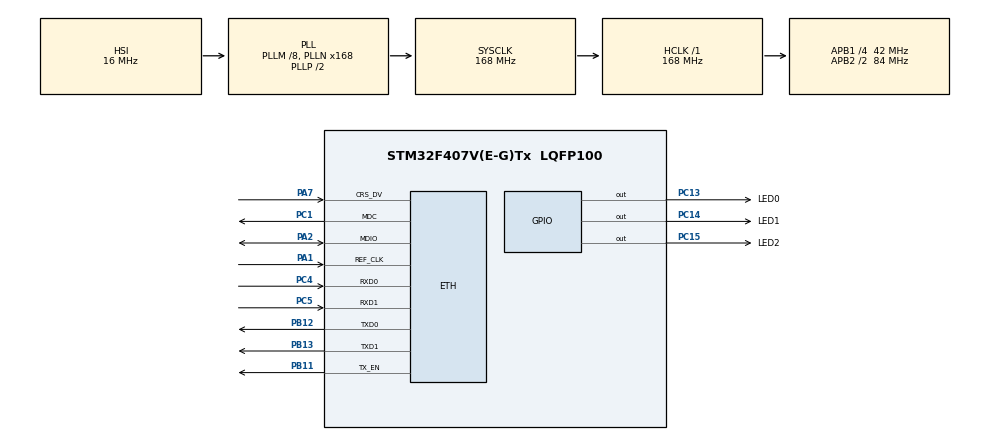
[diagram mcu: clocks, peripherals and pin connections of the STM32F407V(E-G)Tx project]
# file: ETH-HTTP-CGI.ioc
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ETH.AutoNegotiation=ETH_AUTONEGOTIATION_DISABLE
ETH.MediaInterface=ETH_MEDIA_INTERFACE_RMII
ETH.PHY_Name_RMII=DP83848_PHY_ADDRESS
LWIP.GATEWAY_ADDRESS=192.168.100.001
LWIP.IP_ADDRESS=192.168.100.200
LWIP.LWIP_DHCP=0
LWIP.LWIP_HTTPD=1
LWIP.LWIP_HTTPD_CGI=1
LWIP.LWIP_HTTPD_SSI=1
LWIP.MEM_SIZE=10240
LWIP.NETMASK_ADDRESS=255.255.255.000
LWIP.PBUF_POOL_BUFSIZE=1534
LWIP.TCP_MSS=1460
LWIP.Version=v2.1.2_Cube
Mcu.Family=STM32F4
Mcu.Name=STM32F407V(E-G)Tx
Mcu.Package=LQFP100
NVIC.PriorityGroup=NVIC_PRIORITYGROUP_4
PA1.Mode=RMII
PA1.Signal=ETH_REF_CLK
PA2.Mode=RMII
PA2.Signal=ETH_MDIO
PA7.Mode=RMII
PA7.Signal=ETH_CRS_DV
PB11.Mode=RMII
PB11.Signal=ETH_TX_EN
PB12.Mode=RMII
PB12.Signal=ETH_TXD0
PB13.Mode=RMII
PB13.Signal=ETH_TXD1
PC1.Mode=RMII
PC1.Signal=ETH_MDC
PC13-ANTI_TAMP.GPIO_Label=LED0
PC13-ANTI_TAMP.Signal=GPIO_Output
PC14-OSC32_IN.GPIO_Label=LED1
PC14-OSC32_IN.Signal=GPIO_Output
PC15-OSC32_OUT.GPIO_Label=LED2
PC15-OSC32_OUT.Signal=GPIO_Output
PC4.Mode=RMII
PC4.Signal=ETH_RXD0
PC5.Mode=RMII
PC5.Signal=ETH_RXD1
ProjectManager.HeapSize=0x200
ProjectManager.StackSize=0x400
ProjectManager.TargetToolchain=MDK-ARM V5.27
RCC.48MHZClocksFreq_Value=84000000
RCC.AHBFreq_Value=168000000
RCC.APB1CLKDivider=RCC_HCLK_DIV4
RCC.APB1Freq_Value=42000000
RCC.APB1TimFreq_Value=84000000
RCC.APB2CLKDivider=RCC_HCLK_DIV2
RCC.APB2Freq_Value=84000000
RCC.APB2TimFreq_Value=168000000
RCC.CortexFreq_Value=168000000
RCC.HCLKFreq_Value=168000000
RCC.HSE_VALUE=25000000
RCC.HSI_VALUE=16000000
RCC.LSE_VALUE=32768
RCC.PLLM=8
RCC.PLLN=168
RCC.SYSCLKFreq_VALUE=168000000
RCC.SYSCLKSource=RCC_SYSCLKSOURCE_PLLCLK
RCC.VCOOutputFreq_Value=336000000
VP_LWIP_VS_Enabled.Mode=Enabled
board=custom

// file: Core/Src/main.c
/* USER CODE BEGIN Header */
/**
  ******************************************************************************
  * @file           : main.c
  * @brief          : Main program body
  ******************************************************************************
  * @attention
  *
  * <h2><center>&copy; Copyright (c) 2024 STMicroelectronics.
  * All rights reserved.</center></h2>
  *
  * This software component is licensed by ST under Ultimate Liberty license
  * SLA0044, the "License"; You may not use this file except in compliance with
  * the License. You may obtain a copy of the License at:
  *                             www.st.com/SLA0044
  *
  ******************************************************************************
  */
/* USER CODE END Header */
#include "main.h"
#include "lwip.h"
#include "gpio.h"

/* USER CODE BEGIN Includes */
#include "lwip/apps/httpd.h"

#include <string.h>
#include <stdlib.h>
/* USER CODE END Includes */

/* USER CODE BEGIN PTD */
typedef struct {
  GPIO_TypeDef*       GPIO;
  uint16_t            Pin;
} Led_PinConfig;
/* USER CODE END PTD */

/* USER CODE BEGIN PV */
static const Led_PinConfig LED_CONFIGS[] = {
  { LED0_GPIO_Port, LED0_Pin },
  { LED1_GPIO_Port, LED1_Pin },
  { LED2_GPIO_Port, LED2_Pin },
};

static const uint16_t LED_CONFIGS_LEN = sizeof(LED_CONFIGS) / sizeof(LED_CONFIGS[0]);

/* USER CODE END PV */

void SystemClock_Config(void);
/* USER CODE BEGIN PFP */
const char* Http_CGI_onLed(int iIndex, int iNumParams, char *pcParam[], char *pcValue[]);
/* USER CODE END PFP */

/* USER CODE BEGIN 0 */
static const tCGI HTTP_CGI[] = {
  { "/led", Http_CGI_onLed },
};
static const uint16_t HTTP_CGI_LEN = sizeof(HTTP_CGI) / sizeof(HTTP_CGI[0]);
/* USER CODE END 0 */

int main(void)
{

  /* MCU Configuration--------------------------------------------------------*/

  /* Reset of all peripherals, Initializes the Flash interface and the Systick. */
  HAL_Init();

  /* Configure the system clock */
  SystemClock_Config();

  /* Initialize all configured peripherals */
  MX_GPIO_Init();
  MX_LWIP_Init();
  /* USER CODE BEGIN 2 */
  httpd_init();
  http_set_cgi_handlers((tCGI*) &HTTP_CGI, HTTP_CGI_LEN);
  /* USER CODE END 2 */

  /* Infinite loop */
  /* USER CODE BEGIN WHILE */
  while (1)
  {
    MX_LWIP_Process();
    /* USER CODE END WHILE */

  }
}

void SystemClock_Config(void)
{
  RCC_OscInitTypeDef RCC_OscInitStruct = {0};
  RCC_ClkInitTypeDef RCC_ClkInitStruct = {0};

  /** Configure the main internal regulator output voltage
  */
  __HAL_RCC_PWR_CLK_ENABLE();
  __HAL_PWR_VOLTAGESCALING_CONFIG(PWR_REGULATOR_VOLTAGE_SCALE1);
  /** Initializes the RCC Oscillators according to the specified parameters
  * in the RCC_OscInitTypeDef structure.
  */
  RCC_OscInitStruct.OscillatorType = RCC_OSCILLATORTYPE_HSI;
  RCC_OscInitStruct.HSIState = RCC_HSI_ON;
  RCC_OscInitStruct.HSICalibrationValue = RCC_HSICALIBRATION_DEFAULT;
  RCC_OscInitStruct.PLL.PLLState = RCC_PLL_ON;
  RCC_OscInitStruct.PLL.PLLSource = RCC_PLLSOURCE_HSI;
  RCC_OscInitStruct.PLL.PLLM = 8;
  RCC_OscInitStruct.PLL.PLLN = 168;
  RCC_OscInitStruct.PLL.PLLP = RCC_PLLP_DIV2;
  RCC_OscInitStruct.PLL.PLLQ = 4;
  if (HAL_RCC_OscConfig(&RCC_OscInitStruct) != HAL_OK)
  {
    Error_Handler();
  }
  /** Initializes the CPU, AHB and APB buses clocks
  */
  RCC_ClkInitStruct.ClockType = RCC_CLOCKTYPE_HCLK|RCC_CLOCKTYPE_SYSCLK
                              |RCC_CLOCKTYPE_PCLK1|RCC_CLOCKTYPE_PCLK2;
  RCC_ClkInitStruct.SYSCLKSource = RCC_SYSCLKSOURCE_PLLCLK;
  RCC_ClkInitStruct.AHBCLKDivider = RCC_SYSCLK_DIV1;
  RCC_ClkInitStruct.APB1CLKDivider = RCC_HCLK_DIV4;
  RCC_ClkInitStruct.APB2CLKDivider = RCC_HCLK_DIV2;

  if (HAL_RCC_ClockConfig(&RCC_ClkInitStruct, FLASH_LATENCY_5) != HAL_OK)
  {
    Error_Handler();
  }
}

/* USER CODE BEGIN 4 */
/**
 * @brief
 * <ip>:[<port>]/led?num=<num>&state=<state>
 * Ex:
 *  192.168.100.200/led?num=1&state=1
 */
const char* Http_CGI_onLed(int iIndex, int iNumParams, char *pcParam[], char *pcValue[]) {
  //  Check Parameters exists
  if (iNumParams != 2) {
    return "/notfound.html";
  }

  // Parse Parameters
  uint8_t num = 0xFF;
  uint8_t state = 0xFF;

  for (uint8_t i = 0; i < iNumParams; i++) {
    if (strcmp(pcParam[i], "num") == 0) {
      num = atoi(pcValue[i]);
    }
    else if (strcmp(pcParam[i], "state") == 0) {
      state = atoi(pcValue[i]);
    }
  }

  // Validation Parameters
  if (num == 0xFF || state == 0xFF || num >= LED_CONFIGS_LEN) {
    return "/notfound.html";
  }

  // Set LED
  HAL_GPIO_WritePin(LED_CONFIGS[num].GPIO, LED_CONFIGS[num].Pin, (GPIO_PinState) !state);

  return "/index.html";
}
/* USER CODE END 4 */

void Error_Handler(void)
{
  __disable_irq();
  while (1)
  {
  }
}

/************************ (C) COPYRIGHT STMicroelectronics *****END OF FILE****/
